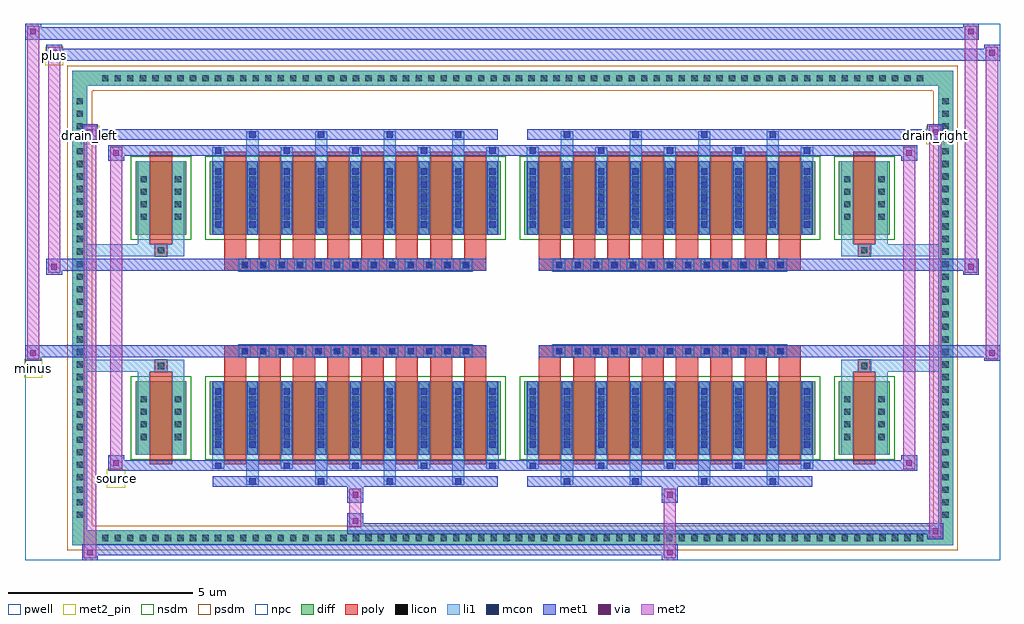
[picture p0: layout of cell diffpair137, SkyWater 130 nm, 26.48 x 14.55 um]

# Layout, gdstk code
import gdstk
lib = gdstk.Library(unit=1e-6, precision=5e-09)
def R(c, l, rs):  # rectangles x0, y0, x1, y1
    for r in rs: c.add(gdstk.rectangle(r[:2], r[2:], *l))
def A(c, l, x, y, w, h, nx, ny, dx, dy):  # array of equal rectangles
    R(c, l, [(x+i*dx, y+j*dy, x+i*dx+w, y+j*dy+h) for i in range(nx) for j in range(ny)])
def P(c, l, *ps):  # polygons
    for p in ps: c.add(gdstk.Polygon(p, *l))
pwell = (64, 44)
diff = (65, 20)
poly = (66, 20)
licon = (66, 44)
li1 = (67, 20)
mcon = (67, 44)
met1 = (68, 20)
via = (68, 44)
met2_pin = (69, 16)
met2 = (69, 20)
nsdm = (93, 44)
psdm = (94, 20)
npc = (95, 20)

diffpair137 = lib.new_cell('diffpair137')
R(diffpair137, pwell, [(-13.22,-6.84,13.22,7.71), (-10.54,-5.03,-0.01,-0.805), (0.01,-5.03,10.54,-0.805), (-10.54,0.805,-0.01,5.03), (0.01,0.805,10.54,5.03)])
A(diffpair137, diff, -11.255, -6.44, 0.41, 0.41, 66, 2, 0.34, 12.47)
A(diffpair137, diff, -11.95, -5.815, 0.41, 0.41, 1, 34, 0, 0.34)
A(diffpair137, diff, 11.54, -5.815, 0.41, 0.41, 1, 34, 0, 0.34)
R(diffpair137, diff, [(-11.255,-6.44,11.255,-6.03), (-11.95,-5.815,-11.54,5.815), (11.54,-5.815,11.95,5.815), (-10.23,-3.985,-8.85,-1.985), (-8.21,-3.985,-0.32,-1.985), (0.32,-3.985,8.21,-1.985), (8.85,-3.985,10.23,-1.985), (-10.23,1.985,-8.85,3.985), (-8.21,1.985,-0.32,3.985), (0.32,1.985,8.21,3.985), (8.85,1.985,10.23,3.985), (-11.255,6.03,11.255,6.44)])
P(diffpair137, diff, [(11.95,6.44),(-11.95,6.44),(-11.95,-6.03),(-11.54,-6.03),(-11.54,6.03),(11.54,6.03),(11.54,-6.03),(-11.54,-6.03),(-11.95,-6.03),(-11.95,-6.44),(11.95,-6.44)])
A(diffpair137, poly, -7.82, -4.235, 0.6, 2.5, 8, 2, 0.93, 5.97)
A(diffpair137, poly, 0.71, -4.235, 0.6, 2.5, 8, 2, 0.93, 5.97)
A(diffpair137, poly, -7.82, -1.735, 0.6, 0.4, 8, 2, 0.93, 3.07)
A(diffpair137, poly, 0.71, -1.735, 0.6, 0.4, 8, 2, 0.93, 3.07)
A(diffpair137, poly, -7.43, -1.335, 0.33, 0.33, 13, 2, 0.5, 2.34)
A(diffpair137, poly, 1.1, -1.335, 0.33, 0.33, 13, 2, 0.5, 2.34)
R(diffpair137, poly, [(-9.84,-4.235,-9.24,-1.735), (9.24,-4.235,9.84,-1.735), (-9.705,-1.735,-9.375,-1.405), (-9.705,-1.735,-9.375,-1.405), (9.375,-1.735,9.705,-1.405), (9.375,-1.735,9.705,-1.405), (-7.82,-1.335,-0.71,-1.005), (0.71,-1.335,7.82,-1.005), (-7.82,1.005,-0.71,1.335), (0.71,1.005,7.82,1.335), (-9.705,1.405,-9.375,1.735), (-9.705,1.405,-9.375,1.735), (9.375,1.405,9.705,1.735), (9.375,1.405,9.705,1.735), (-9.84,1.735,-9.24,4.235), (9.24,1.735,9.84,4.235)])
A(diffpair137, licon, -11.135, -6.32, 0.17, 0.17, 66, 2, 0.34, 12.47)
A(diffpair137, licon, -11.83, -5.695, 0.17, 0.17, 1, 34, 0, 0.34)
A(diffpair137, licon, 11.66, -5.695, 0.17, 0.17, 1, 34, 0, 0.34)
A(diffpair137, licon, -10.09, -3.58, 0.17, 0.17, 1, 4, 0, 0.34)
A(diffpair137, licon, -9.16, -3.58, 0.17, 0.17, 1, 4, 0, 0.34)
A(diffpair137, licon, -8.07, -3.58, 0.17, 0.17, 9, 4, 0.93, 0.34)
A(diffpair137, licon, 0.46, -3.58, 0.17, 0.17, 9, 4, 0.93, 0.34)
A(diffpair137, licon, 8.99, -3.58, 0.17, 0.17, 1, 4, 0, 0.34)
A(diffpair137, licon, 9.92, -3.58, 0.17, 0.17, 1, 4, 0, 0.34)
A(diffpair137, licon, -7.35, -1.255, 0.17, 0.17, 13, 2, 0.5, 2.34)
A(diffpair137, licon, 1.18, -1.255, 0.17, 0.17, 13, 2, 0.5, 2.34)
A(diffpair137, licon, -10.09, 2.39, 0.17, 0.17, 1, 4, 0, 0.34)
A(diffpair137, licon, -9.16, 2.39, 0.17, 0.17, 1, 4, 0, 0.34)
A(diffpair137, licon, -8.07, 2.39, 0.17, 0.17, 9, 4, 0.93, 0.34)
A(diffpair137, licon, 0.46, 2.39, 0.17, 0.17, 9, 4, 0.93, 0.34)
A(diffpair137, licon, 8.99, 2.39, 0.17, 0.17, 1, 4, 0, 0.34)
A(diffpair137, licon, 9.92, 2.39, 0.17, 0.17, 1, 4, 0, 0.34)
R(diffpair137, licon, [(-9.625,-1.655,-9.455,-1.485), (9.455,-1.655,9.625,-1.485), (-9.625,1.485,-9.455,1.655), (9.455,1.485,9.625,1.655)])
A(diffpair137, li1, -11.215, -6.4, 0.33, 0.33, 66, 2, 0.34, 12.47)
A(diffpair137, li1, -11.91, -5.775, 0.33, 0.33, 1, 34, 0, 0.34)
A(diffpair137, li1, 11.58, -5.775, 0.33, 0.33, 1, 34, 0, 0.34)
A(diffpair137, li1, -7.22, -4.79, 0.33, 0.805, 4, 2, 1.86, 8.775)
A(diffpair137, li1, -7.14, -4.79, 0.17, 0.17, 4, 2, 1.86, 9.41)
A(diffpair137, li1, 1.31, -4.79, 0.33, 0.805, 4, 2, 1.86, 8.775)
A(diffpair137, li1, 1.39, -4.79, 0.17, 0.17, 4, 2, 1.86, 9.41)
A(diffpair137, li1, -8.15, -4.36, 0.33, 0.375, 5, 2, 1.86, 8.345)
A(diffpair137, li1, -8.07, -4.36, 0.17, 0.17, 5, 2, 1.86, 8.55)
A(diffpair137, li1, 0.38, -4.36, 0.33, 0.375, 5, 2, 1.86, 8.345)
A(diffpair137, li1, 0.46, -4.36, 0.17, 0.17, 5, 2, 1.86, 8.55)
A(diffpair137, li1, -8.15, -3.985, 0.33, 2, 9, 2, 0.93, 5.97)
A(diffpair137, li1, 0.38, -3.985, 0.33, 2, 9, 2, 0.93, 5.97)
A(diffpair137, li1, -8.07, -3.79, 0.17, 0.17, 9, 5, 0.93, 0.36)
A(diffpair137, li1, -8.07, -3.79, 0.17, 1.61, 9, 2, 0.93, 5.97)
A(diffpair137, li1, 0.46, -3.79, 0.17, 0.17, 9, 5, 0.93, 0.36)
A(diffpair137, li1, 0.46, -3.79, 0.17, 1.61, 9, 2, 0.93, 5.97)
A(diffpair137, li1, -10.17, -3.66, 0.33, 0.33, 1, 4, 0, 0.34)
A(diffpair137, li1, -9.24, -3.66, 0.33, 0.33, 1, 4, 0, 0.34)
A(diffpair137, li1, -8.15, -3.66, 0.33, 0.33, 9, 4, 0.93, 0.34)
A(diffpair137, li1, 0.38, -3.66, 0.33, 0.33, 9, 4, 0.93, 0.34)
A(diffpair137, li1, 8.91, -3.66, 0.33, 0.33, 1, 4, 0, 0.34)
A(diffpair137, li1, 9.84, -3.66, 0.33, 0.33, 1, 4, 0, 0.34)
A(diffpair137, li1, -7.43, -1.335, 0.33, 0.33, 13, 2, 0.5, 2.34)
A(diffpair137, li1, 1.1, -1.335, 0.33, 0.33, 13, 2, 0.5, 2.34)
A(diffpair137, li1, -8.07, 2.18, 0.17, 0.17, 9, 5, 0.93, 0.36)
A(diffpair137, li1, 0.46, 2.18, 0.17, 0.17, 9, 5, 0.93, 0.36)
A(diffpair137, li1, -10.17, 2.31, 0.33, 0.33, 1, 4, 0, 0.34)
A(diffpair137, li1, -9.24, 2.31, 0.33, 0.33, 1, 4, 0, 0.34)
A(diffpair137, li1, -8.15, 2.31, 0.33, 0.33, 9, 4, 0.93, 0.34)
A(diffpair137, li1, 0.38, 2.31, 0.33, 0.33, 9, 4, 0.93, 0.34)
A(diffpair137, li1, 8.91, 2.31, 0.33, 0.33, 1, 4, 0, 0.34)
A(diffpair137, li1, 9.84, 2.31, 0.33, 0.33, 1, 4, 0, 0.34)
R(diffpair137, li1, [(-11.95,-6.44,-11.54,-6.03), (-11.95,-6.44,-11.54,-6.03), (-11.54,-6.44,11.54,-6.03), (11.54,-6.44,11.95,-6.03), (11.54,-6.44,11.95,-6.03), (-11.95,-6.03,-11.54,6.03), (11.54,-6.03,11.95,6.03), (-10.17,-3.985,-9.84,-1.985), (-9.24,-3.985,-8.91,-1.985), (8.91,-3.985,9.24,-1.985), (9.84,-3.985,10.17,-1.985), (-10.17,-1.985,-9.84,-1.405), (-9.24,-1.985,-8.91,-1.405), (8.91,-1.985,9.24,-1.405), (9.84,-1.985,10.17,-1.405), (-11.95,-1.735,-9.705,-1.405), (-10.17,-1.735,-9.705,-1.405), (-9.705,-1.735,-9.375,-1.405), (-9.375,-1.735,-8.91,-1.405), (8.91,-1.735,9.375,-1.405), (9.375,-1.735,9.705,-1.405), (9.375,-1.735,11.95,-1.405), (9.705,-1.735,10.17,-1.405), (-11.95,1.405,-9.705,1.735), (-10.17,1.405,-9.705,1.735), (-10.17,1.405,-9.84,1.985), (-9.705,1.405,-9.375,1.735), (-9.375,1.405,-8.91,1.735), (-9.24,1.405,-8.91,1.985), (8.91,1.405,9.375,1.735), (8.91,1.405,9.24,1.985), (9.375,1.405,9.705,1.735), (9.375,1.405,11.95,1.735), (9.705,1.405,10.17,1.735), (9.84,1.405,10.17,1.985), (-10.17,1.985,-9.84,3.985), (-9.24,1.985,-8.91,3.985), (8.91,1.985,9.24,3.985), (9.84,1.985,10.17,3.985), (-11.95,6.03,-11.54,6.44), (-11.95,6.03,-11.54,6.44), (-11.54,6.03,11.54,6.44), (11.54,6.03,11.95,6.44), (11.54,6.03,11.95,6.44)])
A(diffpair137, mcon, -7.14, -4.79, 0.17, 0.17, 4, 2, 1.86, 9.41)
A(diffpair137, mcon, 1.39, -4.79, 0.17, 0.17, 4, 2, 1.86, 9.41)
A(diffpair137, mcon, -8.07, -4.36, 0.17, 0.17, 5, 2, 1.86, 8.55)
A(diffpair137, mcon, 0.46, -4.36, 0.17, 0.17, 5, 2, 1.86, 8.55)
A(diffpair137, mcon, -8.07, -3.79, 0.17, 0.17, 9, 5, 0.93, 0.36)
A(diffpair137, mcon, 0.46, -3.79, 0.17, 0.17, 9, 5, 0.93, 0.36)
A(diffpair137, mcon, -7.35, -1.255, 0.17, 0.17, 13, 2, 0.5, 2.34)
A(diffpair137, mcon, 1.18, -1.255, 0.17, 0.17, 13, 2, 0.5, 2.34)
A(diffpair137, mcon, -8.07, 2.18, 0.17, 0.17, 9, 5, 0.93, 0.36)
A(diffpair137, mcon, 0.46, 2.18, 0.17, 0.17, 9, 5, 0.93, 0.36)
A(diffpair137, met1, -7.2, -4.85, 0.29, 0.29, 4, 2, 1.86, 9.41)
A(diffpair137, met1, 1.33, -4.85, 0.29, 0.29, 4, 2, 1.86, 9.41)
A(diffpair137, met1, -8.13, -4.42, 0.29, 0.29, 5, 2, 1.86, 8.55)
A(diffpair137, met1, 0.4, -4.42, 0.29, 0.29, 5, 2, 1.86, 8.55)
A(diffpair137, met1, -8.13, -3.985, 0.29, 2, 9, 2, 0.93, 5.97)
A(diffpair137, met1, 0.4, -3.985, 0.29, 2, 9, 2, 0.93, 5.97)
A(diffpair137, met1, -8.13, -3.85, 0.29, 0.29, 9, 5, 0.93, 0.36)
A(diffpair137, met1, 0.4, -3.85, 0.29, 0.29, 9, 5, 0.93, 0.36)
A(diffpair137, met1, -7.41, -1.315, 0.29, 0.29, 13, 2, 0.5, 2.34)
A(diffpair137, met1, 1.12, -1.315, 0.29, 0.29, 13, 2, 0.5, 2.34)
A(diffpair137, met1, -8.13, 2.12, 0.29, 0.29, 9, 5, 0.93, 0.36)
A(diffpair137, met1, 0.4, 2.12, 0.29, 0.29, 9, 5, 0.93, 0.36)
R(diffpair137, met1, [(-11.68,-6.84,-11.25,-6.41), (4.05,-6.84,4.48,-6.41), (-11.68,-6.7,4.48,-6.41), (11.25,-6.27,11.68,-5.84), (-4.48,-6.13,11.68,-5.84), (-4.48,-5.99,-4.05,-5.56), (-4.48,-5.28,-4.05,-4.85), (4.05,-5.28,4.48,-4.85), (-8.13,-4.85,-0.4,-4.56), (0.4,-4.85,8.13,-4.56), (-10.97,-4.42,-10.54,-3.99), (-10.97,-4.42,-8.13,-4.13), (-8.13,-4.42,-0.4,-4.13), (-0.4,-4.42,0.4,-4.13), (0.4,-4.42,8.13,-4.13), (8.13,-4.42,10.97,-4.13), (10.54,-4.42,10.97,-3.99), (-13.22,-1.435,-12.79,-1.005), (12.79,-1.435,13.22,-1.005), (-13.22,-1.335,-0.71,-1.005), (-7.82,-1.335,-0.71,-1.005), (0.71,-1.335,7.82,-1.005), (0.71,-1.335,13.22,-1.005), (-12.65,0.905,-12.22,1.335), (12.22,0.905,12.65,1.335), (-12.65,1.005,-7.82,1.335), (-7.82,1.005,-0.71,1.335), (0.71,1.005,7.82,1.335), (7.82,1.005,12.65,1.335), (-10.97,3.99,-10.54,4.42), (10.54,3.99,10.97,4.42), (-10.97,4.13,-8.13,4.42), (-8.13,4.13,-0.4,4.42), (-0.4,4.13,0.4,4.42), (0.4,4.13,8.13,4.42), (8.13,4.13,10.97,4.42), (-11.68,4.56,-11.25,4.99), (-11.68,4.56,-8.13,4.85), (-8.13,4.56,-0.4,4.85), (0.4,4.56,8.13,4.85), (8.13,4.56,11.68,4.85), (11.25,4.56,11.68,4.99), (-12.65,6.71,-12.22,7.14), (-12.65,6.71,-10.54,7.04), (-10.54,6.71,10.54,7.04), (10.54,6.71,13.22,7.04), (12.79,6.71,13.22,7.14), (-13.22,7.28,-12.79,7.71), (-13.22,7.28,-10.54,7.61), (-10.54,7.28,10.54,7.61), (10.54,7.28,12.65,7.61), (12.22,7.28,12.65,7.71)])
R(diffpair137, via, [(-11.54,-6.7,-11.39,-6.55), (4.19,-6.7,4.34,-6.55), (11.39,-6.13,11.54,-5.98), (-4.34,-5.85,-4.19,-5.7), (-4.34,-5.14,-4.19,-4.99), (4.19,-5.14,4.34,-4.99), (-10.83,-4.28,-10.68,-4.13), (10.68,-4.28,10.83,-4.13), (-13.08,-1.295,-12.93,-1.145), (12.93,-1.295,13.08,-1.145), (-12.51,1.045,-12.36,1.195), (12.36,1.045,12.51,1.195), (-10.83,4.13,-10.68,4.28), (10.68,4.13,10.83,4.28), (-11.54,4.7,-11.39,4.85), (11.39,4.7,11.54,4.85), (-12.51,6.85,-12.36,7), (12.93,6.85,13.08,7), (-13.08,7.42,-12.93,7.57), (12.36,7.42,12.51,7.57)])
R(diffpair137, met2_pin, [(-11.005,-4.87,-10.505,-4.37), (-13.255,-1.885,-12.755,-1.385), (-11.715,4.44,-11.215,4.94), (11.215,4.44,11.715,4.94), (-12.685,6.59,-12.185,7.09)])
R(diffpair137, met2, [(-11.63,-6.79,-11.3,-6.46), (-11.63,-6.79,-11.3,4.94), (4.1,-6.79,4.43,-6.46), (4.1,-6.46,4.43,-5.23), (11.3,-6.22,11.63,-5.89), (11.3,-6.22,11.63,4.94), (-4.43,-5.94,-4.1,-5.61), (-4.43,-5.61,-4.1,-5.23), (-4.43,-5.23,-4.1,-4.9), (4.1,-5.23,4.43,-4.9), (-10.92,-4.37,-10.59,-4.04), (-10.92,-4.37,-10.59,4.37), (10.59,-4.37,10.92,-4.04), (10.59,-4.37,10.92,4.37), (-13.17,-1.385,-12.84,-1.055), (-13.17,-1.385,-12.84,7.66), (12.84,-1.385,13.17,-1.055), (12.84,-1.385,13.17,7.09), (-12.6,0.955,-12.27,1.285), (-12.6,0.955,-12.27,7.09), (12.27,0.955,12.6,1.285), (12.27,0.955,12.6,7.66), (-10.92,4.04,-10.59,4.37), (10.59,4.04,10.92,4.37), (-11.63,4.61,-11.3,4.94), (11.3,4.61,11.63,4.94), (-12.6,6.76,-12.27,7.09), (12.84,6.76,13.17,7.09), (-13.17,7.33,-12.84,7.66), (12.27,7.33,12.6,7.66)])
P(diffpair137, met2, [(13.17,-1.385),(13.17,-1.385),(13.17,-1.055),(13.17,-1.055)],
  [(13.17,6.76),(13.17,6.76),(13.17,7.09),(13.17,7.09)],
  [(-12.84,-1.385),(-12.84,-1.385),(-12.84,-1.055),(-12.84,-1.055)],
  [(-12.84,7.33),(-12.84,7.33),(-12.84,7.66),(-12.84,7.66)],
  [(12.6,0.955),(12.6,0.955),(12.6,1.285),(12.6,1.285)],
  [(12.6,7.33),(12.6,7.33),(12.6,7.66),(12.6,7.66)],
  [(-12.27,0.955),(-12.27,0.955),(-12.27,1.285),(-12.27,1.285)],
  [(-12.27,6.76),(-12.27,6.76),(-12.27,7.09),(-12.27,7.09)],
  [(-11.3,-6.79),(-11.3,-6.79),(-11.3,-6.46),(-11.3,-6.46)],
  [(-11.3,4.61),(-11.3,4.61),(-11.3,4.94),(-11.3,4.94)],
  [(11.63,-6.22),(11.63,-6.22),(11.63,-5.89),(11.63,-5.89)],
  [(11.63,4.61),(11.63,4.61),(11.63,4.94),(11.63,4.94)],
  [(-10.59,-4.37),(-10.59,-4.37),(-10.59,-4.04),(-10.59,-4.04)],
  [(-10.59,4.04),(-10.59,4.04),(-10.59,4.37),(-10.59,4.37)],
  [(10.92,-4.37),(10.92,-4.37),(10.92,-4.04),(10.92,-4.04)],
  [(10.92,4.04),(10.92,4.04),(10.92,4.37),(10.92,4.37)])
R(diffpair137, nsdm, [(-10.36,-4.115,-8.72,-1.855), (-8.34,-4.115,-0.19,-1.855), (0.19,-4.115,8.34,-1.855), (8.72,-4.115,10.36,-1.855), (-10.36,1.855,-8.72,4.115), (-8.34,1.855,-0.19,4.115), (0.19,1.855,8.34,4.115), (8.72,1.855,10.36,4.115)])
P(diffpair137, psdm, [(12.08,6.57),(-12.08,6.57),(-12.08,-5.9),(-11.41,-5.9),(-11.41,5.9),(11.41,5.9),(11.41,-5.9),(-11.41,-5.9),(-12.08,-5.9),(-12.08,-6.57),(12.08,-6.57)])
A(diffpair137, npc, -7.45, -1.355, 0.37, 0.37, 13, 2, 0.5, 2.34)
A(diffpair137, npc, 1.08, -1.355, 0.37, 0.37, 13, 2, 0.5, 2.34)
R(diffpair137, npc, [(-9.725,-1.755,-9.355,-1.385), (9.355,-1.755,9.725,-1.385), (-7.45,-1.355,-6.58,-0.985), (-7.45,-1.355,-6.58,-0.985), (-6.95,-1.355,-6.08,-0.985), (-6.95,-1.355,-6.08,-0.985), (-6.45,-1.355,-5.58,-0.985), (-6.45,-1.355,-5.58,-0.985), (-5.95,-1.355,-5.08,-0.985), (-5.95,-1.355,-5.08,-0.985), (-5.45,-1.355,-4.58,-0.985), (-5.45,-1.355,-4.58,-0.985), (-4.95,-1.355,-4.08,-0.985), (-4.95,-1.355,-4.08,-0.985), (-4.45,-1.355,-3.58,-0.985), (-4.45,-1.355,-3.58,-0.985), (-3.95,-1.355,-3.08,-0.985), (-3.95,-1.355,-3.08,-0.985), (-3.45,-1.355,-2.58,-0.985), (-3.45,-1.355,-2.58,-0.985), (-2.95,-1.355,-2.08,-0.985), (-2.95,-1.355,-2.08,-0.985), (-2.45,-1.355,-1.58,-0.985), (-2.45,-1.355,-1.58,-0.985), (-1.95,-1.355,-1.08,-0.985), (-1.95,-1.355,-1.08,-0.985), (1.08,-1.355,1.95,-0.985), (1.08,-1.355,1.95,-0.985), (1.58,-1.355,2.45,-0.985), (1.58,-1.355,2.45,-0.985), (2.08,-1.355,2.95,-0.985), (2.08,-1.355,2.95,-0.985), (2.58,-1.355,3.45,-0.985), (2.58,-1.355,3.45,-0.985), (3.08,-1.355,3.95,-0.985), (3.08,-1.355,3.95,-0.985), (3.58,-1.355,4.45,-0.985), (3.58,-1.355,4.45,-0.985), (4.08,-1.355,4.95,-0.985), (4.08,-1.355,4.95,-0.985), (4.58,-1.355,5.45,-0.985), (4.58,-1.355,5.45,-0.985), (5.08,-1.355,5.95,-0.985), (5.08,-1.355,5.95,-0.985), (5.58,-1.355,6.45,-0.985), (5.58,-1.355,6.45,-0.985), (6.08,-1.355,6.95,-0.985), (6.08,-1.355,6.95,-0.985), (6.58,-1.355,7.45,-0.985), (6.58,-1.355,7.45,-0.985), (-7.45,0.985,-6.58,1.355), (-7.45,0.985,-6.58,1.355), (-6.95,0.985,-6.08,1.355), (-6.95,0.985,-6.08,1.355), (-6.45,0.985,-5.58,1.355), (-6.45,0.985,-5.58,1.355), (-5.95,0.985,-5.08,1.355), (-5.95,0.985,-5.08,1.355), (-5.45,0.985,-4.58,1.355), (-5.45,0.985,-4.58,1.355), (-4.95,0.985,-4.08,1.355), (-4.95,0.985,-4.08,1.355), (-4.45,0.985,-3.58,1.355), (-4.45,0.985,-3.58,1.355), (-3.95,0.985,-3.08,1.355), (-3.95,0.985,-3.08,1.355), (-3.45,0.985,-2.58,1.355), (-3.45,0.985,-2.58,1.355), (-2.95,0.985,-2.08,1.355), (-2.95,0.985,-2.08,1.355), (-2.45,0.985,-1.58,1.355), (-2.45,0.985,-1.58,1.355), (-1.95,0.985,-1.08,1.355), (-1.95,0.985,-1.08,1.355), (1.08,0.985,1.95,1.355), (1.08,0.985,1.95,1.355), (1.58,0.985,2.45,1.355), (1.58,0.985,2.45,1.355), (2.08,0.985,2.95,1.355), (2.08,0.985,2.95,1.355), (2.58,0.985,3.45,1.355), (2.58,0.985,3.45,1.355), (3.08,0.985,3.95,1.355), (3.08,0.985,3.95,1.355), (3.58,0.985,4.45,1.355), (3.58,0.985,4.45,1.355), (4.08,0.985,4.95,1.355), (4.08,0.985,4.95,1.355), (4.58,0.985,5.45,1.355), (4.58,0.985,5.45,1.355), (5.08,0.985,5.95,1.355), (5.08,0.985,5.95,1.355), (5.58,0.985,6.45,1.355), (5.58,0.985,6.45,1.355), (6.08,0.985,6.95,1.355), (6.08,0.985,6.95,1.355), (6.58,0.985,7.45,1.355), (6.58,0.985,7.45,1.355), (-9.725,1.385,-9.355,1.755), (9.355,1.385,9.725,1.755)])
diffpair137.add(gdstk.Label('minus', (-13.005,-1.635), layer=69, texttype=5))
diffpair137.add(gdstk.Label('drain_right', (11.465,4.69), layer=69, texttype=5))
diffpair137.add(gdstk.Label('drain_left', (-11.465,4.69), layer=69, texttype=5))
diffpair137.add(gdstk.Label('source', (-10.755,-4.62), layer=69, texttype=5))
diffpair137.add(gdstk.Label('plus', (-12.435,6.84), layer=69, texttype=5))

lib.write_gds('diffpair137.gds')
